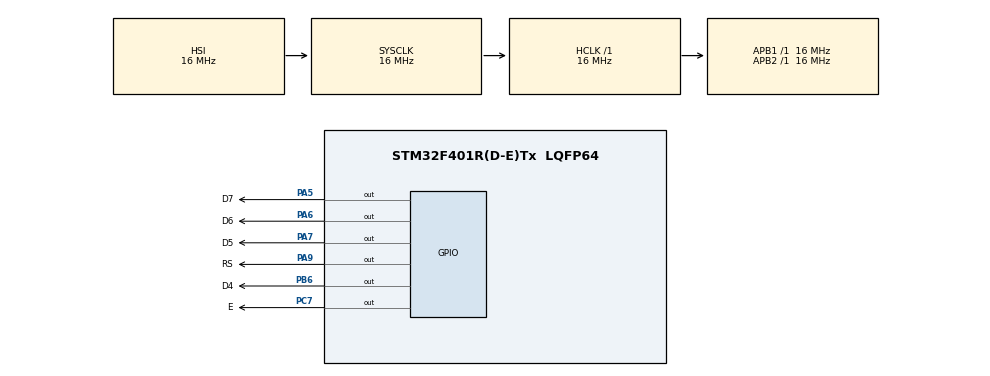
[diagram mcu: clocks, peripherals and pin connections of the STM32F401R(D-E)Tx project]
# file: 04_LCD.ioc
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Mcu.Family=STM32F4
Mcu.Name=STM32F401R(D-E)Tx
Mcu.Package=LQFP64
NVIC.PriorityGroup=NVIC_PRIORITYGROUP_4
PA13.Mode=Serial_Wire
PA13.Signal=SYS_JTMS-SWDIO
PA14.Mode=Serial_Wire
PA14.Signal=SYS_JTCK-SWCLK
PA5.GPIO_Label=D7
PA5.Signal=GPIO_Output
PA6.GPIO_Label=D6
PA6.Signal=GPIO_Output
PA7.GPIO_Label=D5
PA7.Signal=GPIO_Output
PA9.GPIO_Label=RS
PA9.Signal=GPIO_Output
PB6.GPIO_Label=D4
PB6.Signal=GPIO_Output
PC7.GPIO_Label=E
PC7.Signal=GPIO_Output
ProjectManager.HeapSize=0x200
ProjectManager.StackSize=0x400
ProjectManager.TargetToolchain=STM32CubeIDE
RCC.AHBFreq_Value=16000000
RCC.APB1Freq_Value=16000000
RCC.APB2Freq_Value=16000000
RCC.CortexFreq_Value=16000000
RCC.HSE_VALUE=25000000
RCC.HSI_VALUE=16000000
RCC.LSE_VALUE=32768
RCC.SYSCLKFreq_VALUE=16000000
RCC.VCOOutputFreq_Value=192000000
board=custom

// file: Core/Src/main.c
/* USER CODE BEGIN Header */
/**
  ******************************************************************************
  * @file           : main.c
  * @brief          : Main program body
  ******************************************************************************
  * @attention
  *
  * Copyright (c) 2023 STMicroelectronics.
  * All rights reserved.
  *
  * This software is licensed under terms that can be found in the LICENSE file
  * in the root directory of this software component.
  * If no LICENSE file comes with this software, it is provided AS-IS.
  *
  ******************************************************************************
  */
/* USER CODE END Header */
#include "main.h"

/* USER CODE BEGIN Includes */
#include <stdio.h>
#include "lcd.h"
/* USER CODE END Includes */

void SystemClock_Config(void);
static void MX_GPIO_Init(void);

int main(void)
{

  /* MCU Configuration--------------------------------------------------------*/

  /* Reset of all peripherals, Initializes the Flash interface and the Systick. */
  HAL_Init();

  /* Configure the system clock */
  SystemClock_Config();

  /* Initialize all configured peripherals */
  MX_GPIO_Init();
  /* USER CODE BEGIN 2 */
  LCD_STM32_INIT();
  LCD_STM32_New_Char(1,0x0A,0x1F,0x1F,0x1F,0x0E,0x04,0x00,0x00);
    LCD_STM32_Print_New_Char(1);
  LCD_STM32_SET_CURSOR(5, fila2);
  LCD_STM32_PRINT_CHAR('S');
  LCD_STM32_PRINT_CHAR('T');
  LCD_STM32_PRINT_CHAR('M');
  LCD_STM32_PRINT_CHAR('3');
  LCD_STM32_PRINT_CHAR('2');

  LCD_STM32_SET_CURSOR(2, fila1);
  LCD_STM32_PRINT_STRING("te amo giani");

  /* USER CODE END 2 */

  /* Infinite loop */
  /* USER CODE BEGIN WHILE */
  uint8_t i=0;
  uint8_t i_str[5];

  while (1)
  {
	  for(i=0;i<255;i++){

		  LCD_STM32_SET_CURSOR(1, fila1);
		  sprintf((char*)i_str,"%03u",i);
		  LCD_STM32_PRINT_STRING(i_str);
		  HAL_Delay(500);
	  }

    /* USER CODE END WHILE */

  }
}

void SystemClock_Config(void)
{
  RCC_OscInitTypeDef RCC_OscInitStruct = {0};
  RCC_ClkInitTypeDef RCC_ClkInitStruct = {0};

  /** Configure the main internal regulator output voltage
  */
  __HAL_RCC_PWR_CLK_ENABLE();
  __HAL_PWR_VOLTAGESCALING_CONFIG(PWR_REGULATOR_VOLTAGE_SCALE2);

  /** Initializes the RCC Oscillators according to the specified parameters
  * in the RCC_OscInitTypeDef structure.
  */
  RCC_OscInitStruct.OscillatorType = RCC_OSCILLATORTYPE_HSI;
  RCC_OscInitStruct.HSIState = RCC_HSI_ON;
  RCC_OscInitStruct.HSICalibrationValue = RCC_HSICALIBRATION_DEFAULT;
  RCC_OscInitStruct.PLL.PLLState = RCC_PLL_NONE;
  if (HAL_RCC_OscConfig(&RCC_OscInitStruct) != HAL_OK)
  {
    Error_Handler();
  }

  /** Initializes the CPU, AHB and APB buses clocks
  */
  RCC_ClkInitStruct.ClockType = RCC_CLOCKTYPE_HCLK|RCC_CLOCKTYPE_SYSCLK
                              |RCC_CLOCKTYPE_PCLK1|RCC_CLOCKTYPE_PCLK2;
  RCC_ClkInitStruct.SYSCLKSource = RCC_SYSCLKSOURCE_HSI;
  RCC_ClkInitStruct.AHBCLKDivider = RCC_SYSCLK_DIV1;
  RCC_ClkInitStruct.APB1CLKDivider = RCC_HCLK_DIV1;
  RCC_ClkInitStruct.APB2CLKDivider = RCC_HCLK_DIV1;

  if (HAL_RCC_ClockConfig(&RCC_ClkInitStruct, FLASH_LATENCY_0) != HAL_OK)
  {
    Error_Handler();
  }
}

static void MX_GPIO_Init(void)
{
  GPIO_InitTypeDef GPIO_InitStruct = {0};

  /* GPIO Ports Clock Enable */
  __HAL_RCC_GPIOA_CLK_ENABLE();
  __HAL_RCC_GPIOC_CLK_ENABLE();
  __HAL_RCC_GPIOB_CLK_ENABLE();

  /*Configure GPIO pin Output Level */
  HAL_GPIO_WritePin(GPIOA, D7_Pin|D6_Pin|D5_Pin|RS_Pin, GPIO_PIN_RESET);

  /*Configure GPIO pin Output Level */
  HAL_GPIO_WritePin(E_GPIO_Port, E_Pin, GPIO_PIN_RESET);

  /*Configure GPIO pin Output Level */
  HAL_GPIO_WritePin(D4_GPIO_Port, D4_Pin, GPIO_PIN_RESET);

  /*Configure GPIO pins : D7_Pin D6_Pin D5_Pin RS_Pin */
  GPIO_InitStruct.Pin = D7_Pin|D6_Pin|D5_Pin|RS_Pin;
  GPIO_InitStruct.Mode = GPIO_MODE_OUTPUT_PP;
  GPIO_InitStruct.Pull = GPIO_NOPULL;
  GPIO_InitStruct.Speed = GPIO_SPEED_FREQ_LOW;
  HAL_GPIO_Init(GPIOA, &GPIO_InitStruct);

  /*Configure GPIO pin : E_Pin */
  GPIO_InitStruct.Pin = E_Pin;
  GPIO_InitStruct.Mode = GPIO_MODE_OUTPUT_PP;
  GPIO_InitStruct.Pull = GPIO_NOPULL;
  GPIO_InitStruct.Speed = GPIO_SPEED_FREQ_LOW;
  HAL_GPIO_Init(E_GPIO_Port, &GPIO_InitStruct);

  /*Configure GPIO pin : D4_Pin */
  GPIO_InitStruct.Pin = D4_Pin;
  GPIO_InitStruct.Mode = GPIO_MODE_OUTPUT_PP;
  GPIO_InitStruct.Pull = GPIO_NOPULL;
  GPIO_InitStruct.Speed = GPIO_SPEED_FREQ_LOW;
  HAL_GPIO_Init(D4_GPIO_Port, &GPIO_InitStruct);

}

void Error_Handler(void)
{
  __disable_irq();
  while (1)
  {
  }
}
